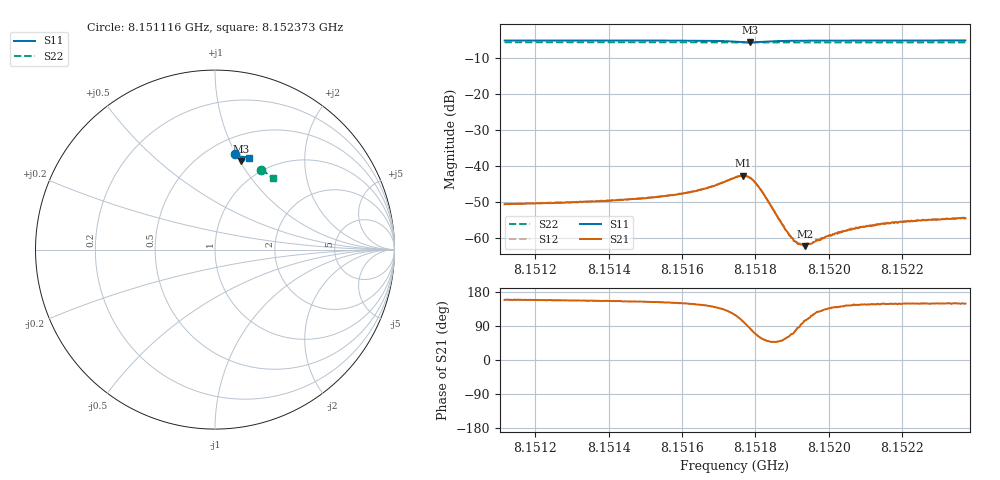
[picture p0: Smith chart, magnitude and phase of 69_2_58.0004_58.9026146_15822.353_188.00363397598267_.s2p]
#  HZ  S  RI  R  50.00
! Rohde & Schwarz Vector Network Analyzer
! Rohde-Schwarz,ZNB20-2Port,1311601062101988,3.16
! Created: UTC 3/21/2024, 12:53:19 AM
! freq[Hz]  re:S11  im:S11  re:S21  im:S21  re:S12  im:S12  re:S22  im:S22
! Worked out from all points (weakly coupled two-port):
!   401 points, 8.151116 GHz to 8.152373 GHz, reference 50 ohm
!   highest |S21| = -42.78 dB at 8.151766 GHz (marker M1); lowest = -62.3 dB at 8.151936 GHz (marker M2)
!   lowest |S11| = -5.8 dB at 8.151785 GHz (marker M3), VSWR 3.10, Z = 38.1 + j50.7 ohm
!   |S11| at or under -10 dB: nowhere
!   |S22| runs from -5.8 to -5.8 dB; largest |S21 - S12| = 0.00015
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8.1511165e9  0.1125 0.5314  -0.00273 0.00106  -0.00274 0.00111  0.259 0.4441
8.1513269e9  0.1281 0.528  -0.00289 0.00125  -0.0029 0.00129  0.2705 0.437
8.1515373e9  0.1448 0.5231  -0.00328 0.00172  -0.00332 0.00177  0.2819 0.4292
8.1516095e9  0.1515 0.5204  -0.00363 0.00213  -0.0036 0.00222  0.2859 0.4266
8.1516566e9  0.1568 0.5173  -0.00388 0.00272  -0.00387 0.00279  0.2884 0.4246
8.1517445e9  0.1634 0.4995  -0.00332 0.00603  -0.00327 0.0061  0.2927 0.4208
8.1517665e9  0.1571 0.4918  -0.00148 0.00711  -0.00139 0.0072  0.2934 0.4199
8.1517853e9  0.1469 0.491  0.00084 0.00676  0.000907 0.0068  0.2941 0.4193
8.1517979e9  0.1413 0.4948  0.00194 0.00565  0.00203 0.0057  0.2945 0.419
8.1518136e9  0.1386 0.5018  0.00244 0.00406  0.00252 0.00405  0.2953 0.4188
8.1518795e9  0.1478 0.5164  0.000773 0.00113  0.000803 0.00112  0.2991 0.4168
8.1519015e9  0.1512 0.5175  0.000359 0.000927  0.000315 0.00093  0.3005 0.4159
8.1519172e9  0.1536 0.5178  6.47e-05 0.000816  7.95e-05 0.000834  0.3011 0.4153
8.1519361e9  0.1559 0.518  -0.000193 0.000744  -0.000167 0.000781  0.3022 0.4146
8.1519549e9  0.1581 0.518  -0.000384 0.00075  -0.000405 0.000749  0.3033 0.4138
8.1519989e9  0.1628 0.5176  -0.000772 0.000745  -0.000756 0.000748  0.3056 0.412
8.1520177e9  0.1646 0.5174  -0.000893 0.000745  -0.000862 0.000805  0.3067 0.4114
8.1520522e9  0.1677 0.5168  -0.00104 0.000763  -0.00101 0.000792  0.3082 0.41
8.1520805e9  0.1701 0.5163  -0.00112 0.000788  -0.00114 0.000805  0.3097 0.4089
8.1521653e9  0.177 0.5146  -0.00135 0.000841  -0.00138 0.000863  0.3141 0.4054
8.1522501e9  0.1833 0.5127  -0.00149 0.000909  -0.0015 0.000919  0.3182 0.402
8.1523725e9  0.1918 0.5098  -0.0016 0.000961  -0.00163 0.000963  0.3244 0.3969
